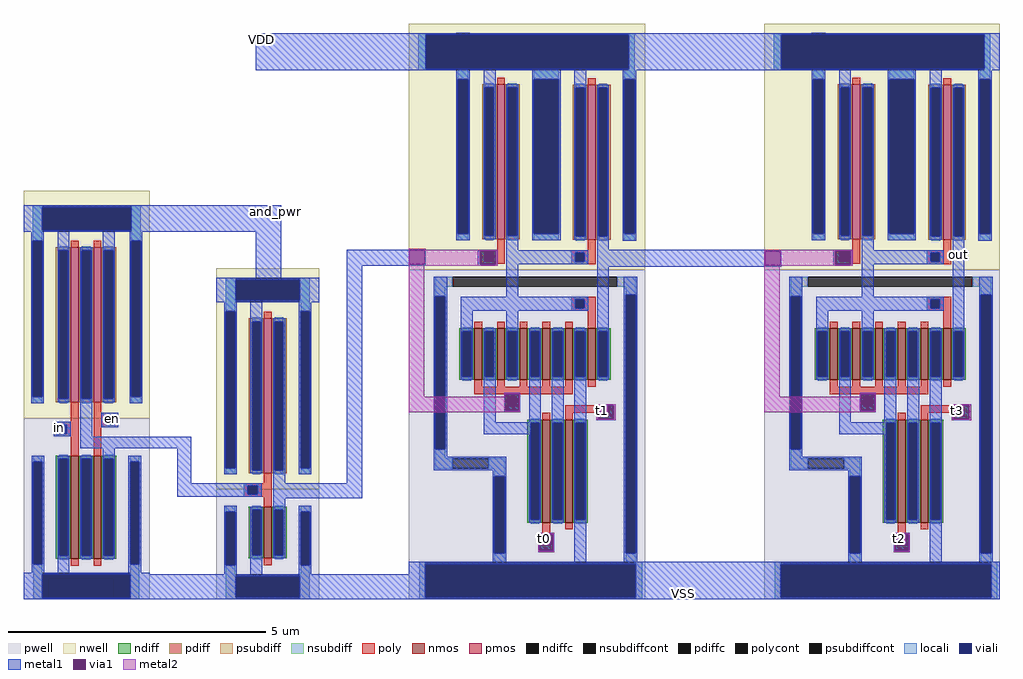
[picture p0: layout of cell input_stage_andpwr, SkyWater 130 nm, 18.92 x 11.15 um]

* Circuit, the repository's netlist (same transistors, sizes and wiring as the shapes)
** sch_path: /home/ttuser/Documents/tt09-analog-tdc/xschem/input_stage_andpwr.sch
.subckt input_stage_andpwr in en t0 t1 t2 t3 and_pwr out VDD VSS
*.PININFO VDD:B in:I out:O VSS:B t0:I t1:I t2:I t3:I en:I and_pwr:I
x1 en in net1 and_pwr VSS nand_gate
x2 net1 net2 and_pwr VSS inverter_2
x3 net2 t0 t1 net3 VDD VSS fine_delay
x4 net3 t2 t3 out VDD VSS fine_delay
.ends

* expanding   symbol:  nand_gate.sym # of pins=5
** sym_path: /home/ttuser/Documents/tt09-analog-tdc/xschem/nand_gate.sym
** sch_path: /home/ttuser/Documents/tt09-analog-tdc/xschem/nand_gate.sch
.subckt nand_gate a b out VDD VSS
*.PININFO VDD:B a:I out:O VSS:B b:I
XM7 out a net1 VSS sky130_fd_pr__nfet_01v8 L=0.15 W=2 nf=1 m=1
XM1 out a VDD VDD sky130_fd_pr__pfet_01v8 L=0.15 W=3 nf=1 m=1
XM2 net1 b VSS VSS sky130_fd_pr__nfet_01v8 L=0.15 W=2 nf=1 m=1
XM3 out b VDD VDD sky130_fd_pr__pfet_01v8 L=0.15 W=3 nf=1 m=1
.ends


* expanding   symbol:  inverter_2.sym # of pins=4
** sym_path: /home/ttuser/Documents/tt09-analog-tdc/xschem/inverter_2.sym
** sch_path: /home/ttuser/Documents/tt09-analog-tdc/xschem/inverter_2.sch
.subckt inverter_2 in out VDD VSS
*.PININFO VDD:B in:I out:O VSS:B
XM1 out in VDD VDD sky130_fd_pr__pfet_01v8 L=0.15 W=3 nf=1 m=1
XM2 out in VSS VSS sky130_fd_pr__nfet_01v8 L=0.15 W=1 nf=1 m=1
.ends


* expanding   symbol:  fine_delay.sym # of pins=6
** sym_path: /home/ttuser/Documents/tt09-analog-tdc/xschem/fine_delay.sym
** sch_path: /home/ttuser/Documents/tt09-analog-tdc/xschem/fine_delay.sch
.subckt fine_delay in t0 t1 out VDD VSS
*.PININFO VDD:B in:I out:O VSS:B t0:I t1:I
XM1 net1 in VDD VDD sky130_fd_pr__pfet_01v8 L=0.15 W=3 nf=1 m=1
XM2 net3 in VSS VSS sky130_fd_pr__nfet_01v8 L=0.15 W=1 nf=1 m=1
XM5 net3 t1 VSS VSS sky130_fd_pr__nfet_01v8 L=0.15 W=2 nf=1 m=1
XM8 out net1 VDD VDD sky130_fd_pr__pfet_01v8 L=0.15 W=3 nf=1 m=1
XM9 out net1 VSS VSS sky130_fd_pr__nfet_01v8 L=0.15 W=1 nf=1 m=1
XM10 net2 in net3 VSS sky130_fd_pr__nfet_01v8 L=0.15 W=1 nf=1 m=1
XM11 net2 t0 net3 VSS sky130_fd_pr__nfet_01v8 L=0.15 W=2 nf=1 m=1
XM3 net1 in net2 VSS sky130_fd_pr__nfet_01v8 L=0.15 W=1 nf=1 m=1
XM4 net1 in net2 VSS sky130_fd_pr__nfet_01v8 L=0.15 W=1 nf=1 m=1
XM6 net1 in net2 VSS sky130_fd_pr__nfet_01v8 L=0.15 W=1 nf=1 m=1
.ends

.end

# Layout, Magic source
magic
tech sky130A
<< nwell >>
rect 1248 798 1251 1275
<< pwell >>
rect 1249 160 1251 798
<< metal1 >>
rect 496 1185 793 1257
rect 1249 1185 1482 1257
rect 291 872 546 923
rect 496 783 546 872
rect 793 837 826 839
rect 673 836 826 837
rect 673 809 795 836
rect 824 809 826 836
rect 673 806 826 809
rect 1181 834 1515 837
rect 1181 807 1484 834
rect 1513 807 1515 834
rect 1847 816 1870 839
rect 105 481 128 504
rect 207 498 230 521
rect 223 452 371 475
rect 344 385 371 452
rect 673 385 703 806
rect 1181 804 1515 807
rect 344 358 473 385
rect 553 355 703 385
rect 291 160 420 208
rect 619 160 793 208
rect 1249 160 1482 232
<< via1 >>
rect 795 809 824 836
rect 1484 807 1513 834
<< metal2 >>
rect 793 836 826 839
rect 793 809 795 836
rect 824 809 826 836
rect 793 806 826 809
rect 1482 834 1515 837
rect 1482 807 1484 834
rect 1513 807 1515 834
rect 1482 804 1515 807
rect 1156 515 1179 538
rect 1845 515 1868 538
rect 1044 266 1067 289
rect 1733 266 1756 289
use fine_delay_unit  fine_delay_unit_0
transform 1 0 619 0 1 368
box 174 -208 630 907
use fine_delay_unit  fine_delay_unit_1
transform 1 0 1308 0 1 368
box 174 -208 630 907
use inverter_3_1  inverter_3_1_0
transform 1 0 405 0 1 258
box 15 -98 214 543
use nand_gate  nand_gate_0
transform -1 0 244 0 1 511
box -47 -351 198 441
<< labels >>
rlabel metal1 105 481 128 504 0 in
port 1 nsew
rlabel metal1 207 498 230 521 0 en
port 2 nsew
rlabel metal2 1044 266 1067 289 0 t0
port 3 nsew
rlabel metal2 1156 515 1179 538 0 t1
port 4 nsew
rlabel metal2 1733 266 1756 289 0 t2
port 5 nsew
rlabel metal2 1845 515 1868 538 0 t3
port 6 nsew
rlabel metal1 496 1234 519 1257 0 VDD
port 9 nsew
rlabel metal1 1313 160 1336 183 0 VSS
port 10 nsew
rlabel metal1 1847 816 1870 839 0 out
port 8 nsew
rlabel metal1 523 900 546 923 0 and_pwr
port 7 nsew
<< end >>

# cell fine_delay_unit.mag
magic
tech sky130A
magscale 1 2
<< nwell >>
rect 348 860 1260 1814
<< pwell >>
rect 348 -416 1260 860
<< psubdiff >>
rect 450 794 516 834
rect 1156 794 1228 834
rect 450 758 490 794
rect 1188 764 1228 794
rect 450 130 490 164
rect 450 90 516 130
rect 658 90 720 130
rect 680 60 720 90
rect 680 -272 720 -238
rect 1188 -272 1228 -238
rect 388 -416 412 -272
rect 1228 -416 1252 -272
<< nsubdiff >>
rect 384 1634 414 1778
rect 1200 1634 1224 1778
rect 538 1600 578 1634
rect 538 976 578 1000
rect 832 1600 930 1634
rect 832 976 930 1000
rect 1184 1600 1224 1634
rect 1184 974 1224 1000
<< psubdiffcont >>
rect 516 794 1156 834
rect 450 164 490 758
rect 516 90 658 130
rect 680 -238 720 60
rect 1188 -238 1228 764
rect 412 -416 1228 -272
<< nsubdiffcont >>
rect 414 1634 1200 1778
rect 538 1000 578 1600
rect 832 1000 930 1600
rect 1184 1000 1224 1600
<< poly >>
rect 690 938 720 954
rect 626 928 720 938
rect 1042 936 1072 952
rect 626 894 642 928
rect 676 894 720 928
rect 626 884 720 894
rect 978 926 1072 936
rect 978 892 994 926
rect 1028 892 1072 926
rect 978 882 1072 892
rect 978 746 1072 756
rect 978 712 994 746
rect 1028 712 1072 746
rect 978 702 1072 712
rect 1042 660 1072 702
rect 602 378 984 408
rect 722 368 776 378
rect 722 334 732 368
rect 766 334 776 368
rect 722 318 776 334
rect 954 326 1140 336
rect 954 306 1090 326
rect 1074 292 1090 306
rect 1124 292 1140 326
rect 1074 282 1140 292
rect 866 -158 896 -146
rect 854 -174 908 -158
rect 854 -208 864 -174
rect 898 -208 908 -174
rect 854 -224 908 -208
<< polycont >>
rect 642 894 676 928
rect 994 892 1028 926
rect 994 712 1028 746
rect 732 334 766 368
rect 1090 292 1124 326
rect 864 -208 898 -174
<< locali >>
rect 384 1634 414 1778
rect 1200 1634 1224 1778
rect 538 1600 578 1634
rect 538 976 578 1000
rect 832 1600 930 1634
rect 832 976 930 1000
rect 1184 1600 1224 1634
rect 1184 974 1224 1000
rect 626 928 692 938
rect 626 894 642 928
rect 676 894 692 928
rect 626 884 692 894
rect 978 926 1044 936
rect 978 892 994 926
rect 1028 892 1044 926
rect 978 882 1044 892
rect 450 794 516 834
rect 1156 794 1228 834
rect 450 758 490 794
rect 1188 764 1228 794
rect 978 746 1044 756
rect 978 712 994 746
rect 1028 712 1044 746
rect 978 702 1044 712
rect 722 368 776 384
rect 722 334 732 368
rect 766 334 776 368
rect 722 318 776 334
rect 1074 326 1140 336
rect 1074 292 1090 326
rect 1124 292 1140 326
rect 1074 282 1140 292
rect 450 130 490 164
rect 450 90 516 130
rect 658 90 720 130
rect 680 60 720 90
rect 854 -174 908 -158
rect 854 -208 864 -174
rect 898 -208 908 -174
rect 854 -224 908 -208
rect 680 -272 720 -238
rect 1188 -272 1228 -238
rect 388 -416 412 -272
rect 1228 -416 1252 -272
<< viali >>
rect 414 1640 1200 1772
rect 538 1000 578 1600
rect 832 1000 930 1600
rect 1184 1000 1224 1600
rect 642 894 676 928
rect 994 892 1028 926
rect 450 164 490 758
rect 994 712 1028 746
rect 732 334 766 368
rect 1090 292 1124 326
rect 680 -238 720 60
rect 864 -208 898 -174
rect 1188 -238 1228 764
rect 412 -408 1228 -280
<< metal1 >>
rect 532 1778 584 1780
rect 348 1772 1260 1778
rect 348 1640 414 1772
rect 1200 1640 1260 1772
rect 348 1634 1260 1640
rect 532 1600 584 1634
rect 532 1000 538 1600
rect 578 1000 584 1600
rect 638 1580 684 1634
rect 826 1600 936 1634
rect 532 976 584 1000
rect 826 1000 832 1600
rect 930 1000 936 1600
rect 990 1578 1036 1634
rect 1178 1600 1230 1634
rect 616 934 692 938
rect 616 880 624 934
rect 684 880 692 934
rect 616 876 692 880
rect 726 936 772 980
rect 826 976 936 1000
rect 1178 1000 1184 1600
rect 1224 1000 1230 1600
rect 726 926 1044 936
rect 726 892 994 926
rect 1028 892 1044 926
rect 726 882 1044 892
rect 444 758 496 834
rect 444 164 450 758
rect 490 164 496 758
rect 726 756 772 882
rect 550 746 1044 756
rect 550 712 994 746
rect 1028 712 1044 746
rect 550 702 1044 712
rect 550 634 596 702
rect 726 634 772 702
rect 1078 634 1124 978
rect 1178 974 1230 1000
rect 1182 764 1234 834
rect 638 270 684 434
rect 718 378 780 384
rect 718 314 722 378
rect 776 314 780 378
rect 718 308 780 314
rect 814 280 860 434
rect 902 280 948 434
rect 990 280 1036 434
rect 1074 336 1150 340
rect 1074 282 1082 336
rect 1142 282 1150 336
rect 1074 278 1150 282
rect 638 224 814 270
rect 444 136 496 164
rect 444 84 726 136
rect 674 60 726 84
rect 674 -238 680 60
rect 720 -238 726 60
rect 850 -164 912 -158
rect 850 -228 854 -164
rect 908 -228 912 -164
rect 850 -234 912 -228
rect 674 -272 726 -238
rect 990 -272 1036 -120
rect 1182 -238 1188 764
rect 1228 -238 1234 764
rect 1182 -272 1234 -238
rect 348 -280 1260 -272
rect 348 -408 412 -280
rect 1228 -408 1260 -280
rect 348 -416 1260 -408
<< via1 >>
rect 624 928 684 934
rect 624 894 642 928
rect 642 894 676 928
rect 676 894 684 928
rect 624 880 684 894
rect 722 368 776 378
rect 722 334 732 368
rect 732 334 766 368
rect 766 334 776 368
rect 722 314 776 334
rect 1082 326 1142 336
rect 1082 292 1090 326
rect 1090 292 1124 326
rect 1124 292 1142 326
rect 1082 282 1142 292
rect 854 -174 908 -164
rect 854 -208 864 -174
rect 864 -208 898 -174
rect 898 -208 908 -174
rect 854 -228 908 -208
<< metal2 >>
rect 348 934 692 938
rect 348 880 624 934
rect 684 880 692 934
rect 348 876 692 880
rect 348 368 408 876
rect 718 378 780 384
rect 718 368 722 378
rect 348 314 722 368
rect 776 314 780 378
rect 348 308 780 314
rect 1074 336 1150 340
rect 1074 282 1082 336
rect 1142 282 1150 336
rect 1074 278 1150 282
rect 850 -164 912 -158
rect 850 -228 854 -164
rect 908 -228 912 -164
rect 850 -234 912 -228
use sky130_fd_pr__nfet_01v8_6H9P4D  sky130_fd_pr__nfet_01v8_6H9P4D_0
transform 1 0 617 0 1 534
box -73 -126 73 126
use sky130_fd_pr__nfet_01v8_6H9P4D  sky130_fd_pr__nfet_01v8_6H9P4D_1
transform 1 0 705 0 1 534
box -73 -126 73 126
use sky130_fd_pr__nfet_01v8_6H9P4D  sky130_fd_pr__nfet_01v8_6H9P4D_2
transform 1 0 793 0 1 534
box -73 -126 73 126
use sky130_fd_pr__nfet_01v8_6H9P4D  sky130_fd_pr__nfet_01v8_6H9P4D_3
transform 1 0 881 0 1 534
box -73 -126 73 126
use sky130_fd_pr__nfet_01v8_6H9P4D  sky130_fd_pr__nfet_01v8_6H9P4D_4
transform 1 0 969 0 1 534
box -73 -126 73 126
use sky130_fd_pr__nfet_01v8_6H9P4D  sky130_fd_pr__nfet_01v8_6H9P4D_5
transform 1 0 1057 0 1 534
box -73 -126 73 126
use sky130_fd_pr__nfet_01v8_TC9PQS  sky130_fd_pr__nfet_01v8_TC9PQS_0
transform 1 0 881 0 1 80
box -73 -226 73 226
use sky130_fd_pr__nfet_01v8_TC9PQS  sky130_fd_pr__nfet_01v8_TC9PQS_1
transform 1 0 969 0 1 80
box -73 -226 73 226
use sky130_fd_pr__pfet_01v8_2K9SAN  sky130_fd_pr__pfet_01v8_2K9SAN_0
transform 1 0 705 0 1 1280
box -109 -362 109 362
use sky130_fd_pr__pfet_01v8_2K9SAN  sky130_fd_pr__pfet_01v8_2K9SAN_1
transform 1 0 1057 0 1 1278
box -109 -362 109 362
<< labels >>
rlabel metal2 348 732 400 784 0 in
port 1 nsew
rlabel metal2 850 -210 902 -158 0 t0
port 2 nsew
rlabel metal2 1074 288 1126 340 0 t1
port 3 nsew
rlabel metal1 348 1726 400 1778 0 VDD
port 5 nsew
rlabel metal1 348 -324 400 -272 0 VSS
port 6 nsew
rlabel metal1 1078 882 1124 928 0 out
port 4 nsew
<< end >>

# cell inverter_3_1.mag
magic
tech sky130A
magscale 1 2
<< nwell >>
rect 30 954 428 1086
rect 30 230 120 954
rect 338 896 428 954
rect 328 288 428 896
rect 338 230 428 288
<< pwell >>
rect 30 -196 428 230
<< psubdiff >>
rect 66 142 102 166
rect 66 -100 102 -64
rect 356 142 392 166
rect 356 -100 392 -64
rect 66 -196 104 -100
rect 354 -196 392 -100
<< nsubdiff >>
rect 66 954 104 1050
rect 354 954 392 1050
rect 66 920 102 954
rect 66 288 102 312
rect 356 920 392 954
rect 356 288 392 312
<< psubdiffcont >>
rect 66 -64 102 142
rect 356 -64 392 142
rect 104 -196 354 -100
<< nsubdiffcont >>
rect 104 954 354 1050
rect 66 312 102 920
rect 356 312 392 920
<< poly >>
rect 214 254 244 266
rect 136 244 244 254
rect 136 210 152 244
rect 190 210 244 244
rect 136 200 244 210
rect 214 188 244 200
<< polycont >>
rect 152 210 190 244
<< locali >>
rect 66 954 104 1050
rect 354 954 392 1050
rect 66 920 102 954
rect 66 288 102 312
rect 356 920 392 954
rect 356 288 392 312
rect 136 244 206 254
rect 136 210 152 244
rect 190 210 206 244
rect 136 200 206 210
rect 66 142 102 166
rect 66 -100 102 -64
rect 356 142 392 166
rect 356 -100 392 -64
rect 66 -196 104 -100
rect 354 -196 392 -100
<< viali >>
rect 104 962 354 1042
rect 66 312 102 920
rect 356 312 392 920
rect 152 210 190 244
rect 66 -64 102 142
rect 356 -64 392 142
rect 104 -188 354 -108
<< metal1 >>
rect 30 1042 428 1050
rect 30 962 104 1042
rect 354 962 428 1042
rect 30 954 428 962
rect 60 920 108 954
rect 60 312 66 920
rect 102 312 108 920
rect 162 892 208 954
rect 350 920 398 954
rect 60 288 108 312
rect 350 312 356 920
rect 392 312 398 920
rect 136 244 206 254
rect 136 210 152 244
rect 190 210 206 244
rect 136 200 206 210
rect 60 142 108 166
rect 250 162 296 292
rect 350 288 398 312
rect 60 -64 66 142
rect 102 -64 108 142
rect 350 142 398 166
rect 60 -100 108 -64
rect 162 -100 208 -38
rect 350 -64 356 142
rect 392 -64 398 142
rect 350 -100 398 -64
rect 30 -108 428 -100
rect 30 -188 104 -108
rect 354 -188 428 -108
rect 30 -196 428 -188
use sky130_fd_pr__nfet_01v8_6H9P4D  sky130_fd_pr__nfet_01v8_6H9P4D_0
transform 1 0 229 0 1 62
box -73 -126 73 126
use sky130_fd_pr__pfet_01v8_2K9SAN  sky130_fd_pr__pfet_01v8_2K9SAN_0
transform 1 0 229 0 1 592
box -109 -362 109 362
<< end >>

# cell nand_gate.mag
magic
tech sky130A
magscale 1 2
<< nwell >>
rect -94 702 396 882
rect -94 0 0 702
rect 306 58 396 702
rect 246 32 396 58
rect 306 0 396 32
<< pwell >>
rect -94 -624 396 0
rect -94 -702 48 -624
rect 298 -702 396 -624
<< psubdiff >>
rect -52 -170 -18 -146
rect -52 -702 -18 -566
rect 324 -170 358 -146
rect 324 -702 358 -566
<< nsubdiff >>
rect -58 688 -22 824
rect -58 58 -22 82
rect 324 688 360 824
rect 324 58 360 82
<< psubdiffcont >>
rect -52 -566 -18 -170
rect 324 -566 358 -170
rect -18 -702 324 -600
<< nsubdiffcont >>
rect -22 722 324 824
rect -58 82 -22 688
rect 324 82 360 688
<< poly >>
rect 94 20 124 36
rect 28 8 124 20
rect 28 -26 44 8
rect 78 -26 124 8
rect 28 -36 124 -26
rect 94 -120 124 -36
rect 182 -14 212 36
rect 182 -26 278 -14
rect 182 -60 228 -26
rect 262 -60 278 -26
rect 182 -70 278 -60
rect 182 -120 212 -70
<< polycont >>
rect 44 -26 78 8
rect 228 -60 262 -26
<< locali >>
rect -58 688 -22 824
rect -58 58 -22 82
rect 324 688 360 824
rect 324 58 360 82
rect 28 8 94 20
rect 28 -26 44 8
rect 78 -26 94 8
rect 28 -36 94 -26
rect 212 -26 278 -14
rect 212 -60 228 -26
rect 262 -60 278 -26
rect 212 -70 278 -60
rect -52 -170 -18 -146
rect -52 -702 -18 -566
rect 324 -170 358 -146
rect 324 -702 358 -566
<< viali >>
rect -22 728 324 818
rect -58 82 -22 688
rect 324 82 360 688
rect 44 -26 78 8
rect 228 -60 262 -26
rect -52 -566 -18 -170
rect 324 -566 358 -170
rect -18 -696 324 -606
<< metal1 >>
rect -94 818 396 824
rect -94 728 -22 818
rect 324 728 396 818
rect -94 722 396 728
rect -64 688 -16 722
rect -64 82 -58 688
rect -22 82 -16 688
rect 42 662 88 722
rect 218 662 264 722
rect 318 688 366 722
rect -64 58 -16 82
rect 318 82 324 688
rect 360 82 366 688
rect 28 8 94 20
rect 28 -26 44 8
rect 78 -26 94 8
rect 28 -36 94 -26
rect 130 -72 176 62
rect 318 58 366 82
rect 212 -26 278 -14
rect 212 -60 228 -26
rect 262 -60 278 -26
rect 212 -70 278 -60
rect 42 -118 176 -72
rect 42 -146 88 -118
rect -60 -170 -10 -146
rect -60 -566 -52 -170
rect -18 -566 -10 -170
rect 316 -170 364 -146
rect -60 -600 -10 -566
rect 218 -600 264 -546
rect 316 -566 324 -170
rect 358 -566 364 -170
rect 316 -600 364 -566
rect -94 -606 396 -600
rect -94 -696 -18 -606
rect 324 -696 396 -606
rect -94 -702 396 -696
use sky130_fd_pr__nfet_01v8_TC9PQS  sky130_fd_pr__nfet_01v8_TC9PQS_0
transform 1 0 109 0 1 -346
box -73 -226 73 226
use sky130_fd_pr__nfet_01v8_TC9PQS  sky130_fd_pr__nfet_01v8_TC9PQS_1
transform 1 0 197 0 1 -346
box -73 -226 73 226
use sky130_fd_pr__pfet_01v8_2K9SAN  sky130_fd_pr__pfet_01v8_2K9SAN_0
transform 1 0 109 0 1 362
box -109 -362 109 362
use sky130_fd_pr__pfet_01v8_2K9SAN  sky130_fd_pr__pfet_01v8_2K9SAN_1
transform 1 0 197 0 1 362
box -109 -362 109 362
<< labels >>
rlabel metal1 28 -26 74 20 0 a
port 1 nsew
rlabel metal1 232 -60 278 -14 0 b
port 2 nsew
rlabel metal1 42 -118 88 -72 0 out
port 3 nsew
rlabel metal1 -94 778 -48 824 0 VDD
port 4 nsew
rlabel metal1 -94 -646 -48 -600 0 VSS
port 5 nsew
<< end >>

# cell sky130_fd_pr__nfet_01v8_TC9PQS: kit device sky130_fd_pr__nfet_01v8, w 2 l 0.150 m 1 nf 1 diffcov 100 polycov 100 guard 0 glc 1 grc 1 gtc 1 gbc 1 tbcov 100 rlcov 100 topc 0 botc 0 poverlap 0 doverlap 1 lmin 0.15 wmin 0.42 compatible {sky130_fd_pr__nfet_01v8 sky130_fd_pr__nfet_01v8_lvt sky130_fd_bs_flash__special_sonosfet_star sky130_fd_pr__nfet_g5v0d10v5 sky130_fd_pr__nfet_05v0_nvt sky130_fd_pr__nfet_03v3_nvt} full_metal 0 viasrc 100 viadrn 100 viagate 100 viagb 0 viagr 0 viagl 0 viagt 0

# cell sky130_fd_pr__pfet_01v8_2K9SAN: kit device sky130_fd_pr__pfet_01v8, w 3 l 0.15 m 1 nf 1 diffcov 100 polycov 100 guard 0 glc 1 grc 1 gtc 1 gbc 1 tbcov 100 rlcov 100 topc 0 botc 0 poverlap 0 doverlap 1 lmin 0.15 wmin 0.42 compatible {sky130_fd_pr__pfet_01v8 sky130_fd_pr__pfet_01v8_lvt sky130_fd_pr__pfet_01v8_hvt sky130_fd_pr__pfet_g5v0d10v5} full_metal 1 viasrc 100 viadrn 100 viagate 100 viagb 0 viagr 0 viagl 0 viagt 0

# cell sky130_fd_pr__nfet_01v8_6H9P4D: kit device sky130_fd_pr__nfet_01v8, w 1 l 0.150 m 1 nf 1 diffcov 100 polycov 100 guard 0 glc 1 grc 1 gtc 1 gbc 1 tbcov 100 rlcov 100 topc 0 botc 0 poverlap 0 doverlap 1 lmin 0.15 wmin 0.42 compatible {sky130_fd_pr__nfet_01v8 sky130_fd_pr__nfet_01v8_lvt sky130_fd_bs_flash__special_sonosfet_star sky130_fd_pr__nfet_g5v0d10v5 sky130_fd_pr__nfet_05v0_nvt sky130_fd_pr__nfet_03v3_nvt} full_metal 1 viasrc 100 viadrn 100 viagate 100 viagb 0 viagr 0 viagl 0 viagt 0
